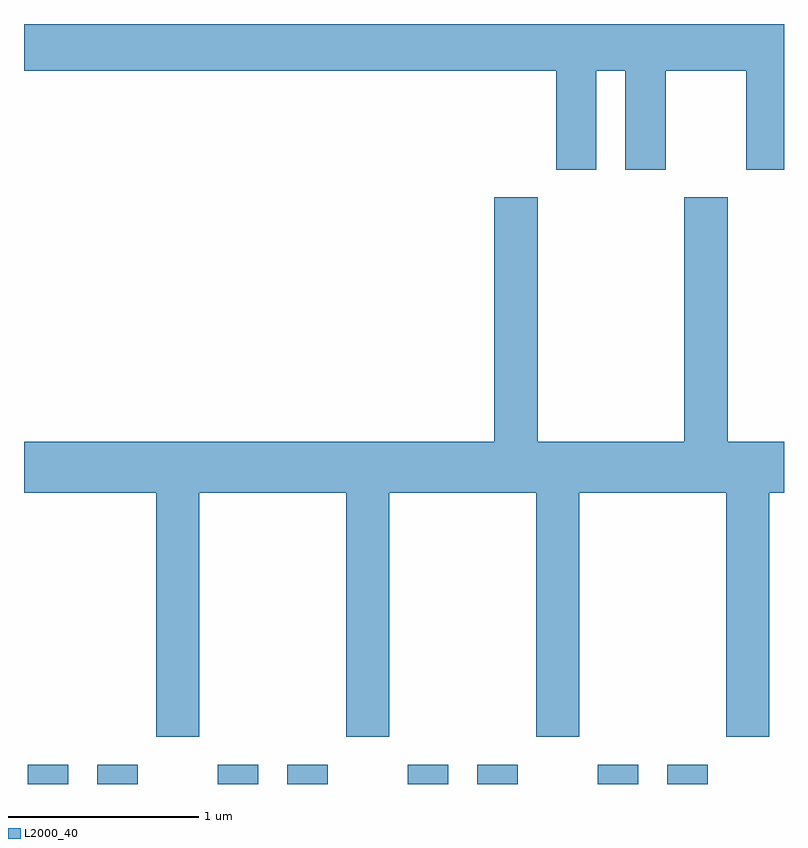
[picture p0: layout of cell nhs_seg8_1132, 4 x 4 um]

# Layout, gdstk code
import gdstk
lib = gdstk.Library(unit=1e-6, precision=1e-09)
def R(c, l, rs):  # rectangles x0, y0, x1, y1
    for r in rs: c.add(gdstk.rectangle(r[:2], r[2:], *l))
def P(c, l, *ps):  # polygons
    for p in ps: c.add(gdstk.Polygon(p, *l))
L2000_40 = (2000, 40)

nhs_seg8_1132 = lib.new_cell('nhs_seg8_1132')
R(nhs_seg8_1132, L2000_40, [(217.631,1930.342,217.844,1930.444), (217.996,1930.342,218.209,1930.444), (218.631,1930.342,218.844,1930.444), (218.996,1930.342,219.209,1930.444), (219.631,1930.342,219.844,1930.444), (219.996,1930.342,220.209,1930.444), (220.631,1930.342,220.844,1930.444), (220.996,1930.342,221.209,1930.444)])
P(nhs_seg8_1132, L2000_40, [(220.624,1934.096),(220.776,1934.096),(220.776,1933.576),(220.989,1933.576),(220.989,1934.096),(221.411,1934.096),(221.411,1933.576),(221.611,1933.576),(221.611,1934.342),(217.611,1934.342),(217.611,1934.096),(220.411,1934.096),(220.411,1933.576),(220.624,1933.576)],
  [(218.534,1931.876),(219.306,1931.876),(219.306,1930.591),(219.534,1930.591),(219.534,1931.876),(220.306,1931.876),(220.306,1930.591),(220.534,1930.591),(220.534,1931.876),(221.306,1931.876),(221.306,1930.591),(221.534,1930.591),(221.534,1931.876),(221.611,1931.876),(221.611,1932.144),(221.314,1932.144),(221.314,1933.429),(221.086,1933.429),(221.086,1932.144),(220.314,1932.144),(220.314,1933.429),(220.086,1933.429),(220.086,1932.144),(217.611,1932.144),(217.611,1931.876),(218.306,1931.876),(218.306,1930.591),(218.534,1930.591)])

lib.write_gds('nhs_seg8_1132.gds')
